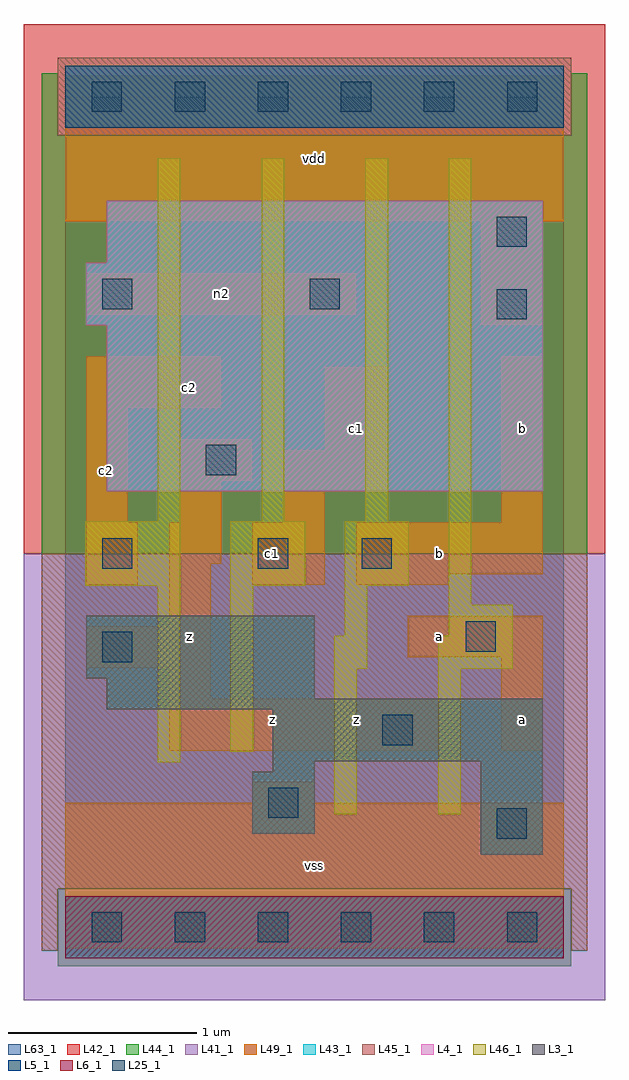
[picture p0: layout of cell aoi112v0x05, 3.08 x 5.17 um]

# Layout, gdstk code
import gdstk
lib = gdstk.Library(unit=1e-6, precision=1e-09)
def R(c, l, rs):  # rectangles x0, y0, x1, y1
    for r in rs: c.add(gdstk.rectangle(r[:2], r[2:], *l))
def A(c, l, x, y, w, h, nx, ny, dx, dy):  # array of equal rectangles
    R(c, l, [(x+i*dx, y+j*dy, x+i*dx+w, y+j*dy+h) for i in range(nx) for j in range(ny)])
L3_1 = (3, 1)
L4_1 = (4, 1)
L5_1 = (5, 1)
L6_1 = (6, 1)
L25_1 = (25, 1)
L41_1 = (41, 1)
L42_1 = (42, 1)
L43_1 = (43, 1)
L44_1 = (44, 1)
L45_1 = (45, 1)
L46_1 = (46, 1)
L49_1 = (49, 1)
L63_1 = (63, 1)

aoi112v0x05 = lib.new_cell('aoi112v0x05')
R(aoi112v0x05, L3_1, [(2.2,0.385,2.53,0.88), (0.99,0.495,1.32,0.825), (1.1,0.825,1.32,0.88), (1.1,0.88,2.53,1.155), (0.22,1.155,2.53,1.21), (0.22,1.21,1.32,1.32), (0.11,1.32,1.32,1.65)])
R(aoi112v0x05, L4_1, [(0.22,2.31,2.53,3.19), (0.11,3.19,2.53,3.52), (0.22,3.52,2.53,3.85)])
R(aoi112v0x05, L5_1, [(0,4.235,2.64,4.565)])
R(aoi112v0x05, L6_1, [(0,-0.165,2.64,0.165)])
A(aoi112v0x05, L25_1, 0.14, -0.08, 0.16, 0.16, 6, 2, 0.44, 4.4)
R(aoi112v0x05, L25_1, [(2.285,0.47,2.445,0.63), (1.075,0.58,1.235,0.74), (1.68,0.965,1.84,1.125), (0.195,1.405,0.355,1.565), (2.12,1.46,2.28,1.62), (0.195,1.9,0.355,2.06), (1.02,1.9,1.18,2.06), (1.57,1.9,1.73,2.06), (0.745,2.395,0.905,2.555), (2.285,3.22,2.445,3.38), (0.195,3.275,0.355,3.435), (1.295,3.275,1.455,3.435), (2.285,3.605,2.445,3.765)])
R(aoi112v0x05, L41_1, [(-0.22,-0.385,2.86,1.98)])
R(aoi112v0x05, L42_1, [(-0.22,1.98,2.86,4.785)])
R(aoi112v0x05, L43_1, [(0,-0.165,2.64,0.165), (2.2,0.385,2.53,0.88), (0.99,0.495,1.32,0.825), (1.1,0.825,1.32,0.88), (1.1,0.88,2.53,1.155), (0.22,1.155,2.53,1.21), (0.22,1.21,1.32,1.32), (0.11,1.32,1.32,1.65), (0.22,2.31,2.53,3.19), (0.11,3.19,2.53,3.52), (0.22,3.52,2.53,3.85), (0,4.235,2.64,4.565)])
R(aoi112v0x05, L44_1, [(-0.04,-0.205,2.68,0.205), (-0.125,1.98,2.765,4.195), (-0.125,4.195,-0.04,4.525), (2.68,4.195,2.765,4.525)])
R(aoi112v0x05, L45_1, [(-0.125,-0.125,-0.04,0.205), (2.68,-0.125,2.765,0.205), (-0.125,0.205,2.765,1.98), (-0.04,4.195,2.68,4.605)])
A(aoi112v0x05, L46_1, 0.49, 2.15, 0.12, 1.925, 3, 1, 0.55, 0)
R(aoi112v0x05, L46_1, [(1.425,0.6,1.545,1.37), (1.975,0.6,2.095,1.37), (0.49,0.875,0.61,1.81), (0.875,0.93,0.995,1.81), (1.425,1.37,1.6,1.545), (1.975,1.37,2.37,1.545), (1.48,1.545,1.6,1.81), (2.03,1.545,2.37,1.71), (2.03,1.71,2.15,4.075), (0.105,1.81,0.61,2.15), (0.875,1.81,1.27,2.15), (1.48,1.81,1.82,2.15)])
R(aoi112v0x05, L49_1, [(0,-0.11,2.64,0.66), (0.99,0.66,1.32,0.77), (0.55,0.935,1.98,1.21), (2.31,0.935,2.53,1.43), (0.55,1.21,0.77,1.375), (0.11,1.375,0.77,1.595), (1.815,1.43,2.53,1.65), (0.55,1.595,0.77,1.925), (0.11,1.815,0.385,2.145), (0.99,1.815,1.375,2.145), (1.54,1.815,2.035,1.87), (1.54,1.87,2.53,2.145), (0.55,1.925,0.825,2.145), (0.11,2.145,0.33,2.75), (0.605,2.145,0.825,2.365), (1.155,2.145,1.375,2.31), (2.31,2.145,2.53,3.025), (1.155,2.31,1.705,2.53), (0.605,2.365,0.99,2.585), (1.375,2.53,1.705,2.97), (0.11,2.75,0.825,3.025), (2.2,3.19,2.53,3.74), (0.11,3.245,1.54,3.465), (0,3.74,2.64,4.51)])
R(aoi112v0x05, L63_1, [(0,0,2.64,4.4)])
aoi112v0x05.add(gdstk.Label('c2', (0.22,2.42), layer=49, texttype=1))
aoi112v0x05.add(gdstk.Label('z', (0.66,1.54), layer=49, texttype=1))
aoi112v0x05.add(gdstk.Label('c2', (0.66,2.86), layer=49, texttype=1))
aoi112v0x05.add(gdstk.Label('vss', (1.32,0.33), layer=49, texttype=1))
aoi112v0x05.add(gdstk.Label('z', (1.1,1.1), layer=49, texttype=1))
aoi112v0x05.add(gdstk.Label('c1', (1.1,1.98), layer=49, texttype=1))
aoi112v0x05.add(gdstk.Label('n2', (0.825,3.355), layer=49, texttype=1))
aoi112v0x05.add(gdstk.Label('vdd', (1.32,4.07), layer=49, texttype=1))
aoi112v0x05.add(gdstk.Label('z', (1.54,1.1), layer=49, texttype=1))
aoi112v0x05.add(gdstk.Label('a', (1.98,1.54), layer=49, texttype=1))
aoi112v0x05.add(gdstk.Label('b', (1.98,1.98), layer=49, texttype=1))
aoi112v0x05.add(gdstk.Label('c1', (1.54,2.64), layer=49, texttype=1))
aoi112v0x05.add(gdstk.Label('a', (2.42,1.1), layer=49, texttype=1))
aoi112v0x05.add(gdstk.Label('b', (2.42,2.64), layer=49, texttype=1))

lib.write_gds('aoi112v0x05.gds')
